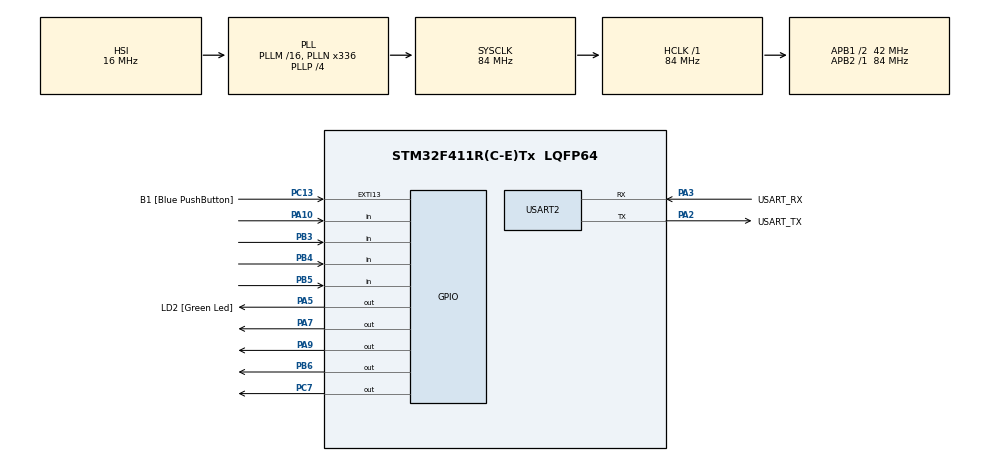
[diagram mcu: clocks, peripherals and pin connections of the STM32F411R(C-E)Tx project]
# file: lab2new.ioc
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Mcu.Family=STM32F4
Mcu.Name=STM32F411R(C-E)Tx
Mcu.Package=LQFP64
NVIC.PriorityGroup=NVIC_PRIORITYGROUP_0
PA10.GPIO_Mode=GPIO_MODE_INPUT
PA10.GPIO_PuPd=GPIO_PULLUP
PA10.Signal=GPIO_Input
PA13.GPIO_Label=TMS
PA13.Mode=Serial_Wire
PA13.Signal=SYS_JTMS-SWDIO
PA14.GPIO_Label=TCK
PA14.Mode=Serial_Wire
PA14.Signal=SYS_JTCK-SWCLK
PA2.GPIO_Label=USART_TX
PA2.Mode=Asynchronous
PA2.Signal=USART2_TX
PA3.GPIO_Label=USART_RX
PA3.Mode=Asynchronous
PA3.Signal=USART2_RX
PA5.GPIO_Label=LD2 [Green Led]
PA5.Signal=GPIO_Output
PA7.GPIO_ModeDefaultOutputPP=GPIO_MODE_OUTPUT_OD
PA7.GPIO_Speed=GPIO_SPEED_FREQ_LOW
PA7.PinState=GPIO_PIN_SET
PA7.Signal=GPIO_Output
PA9.GPIO_ModeDefaultOutputPP=GPIO_MODE_OUTPUT_OD
PA9.GPIO_Speed=GPIO_SPEED_FREQ_LOW
PA9.PinState=GPIO_PIN_SET
PA9.Signal=GPIO_Output
PB3.GPIO_Mode=GPIO_MODE_INPUT
PB3.GPIO_PuPd=GPIO_PULLUP
PB3.Signal=GPIO_Input
PB4.GPIO_Mode=GPIO_MODE_INPUT
PB4.GPIO_PuPd=GPIO_PULLUP
PB4.Signal=GPIO_Input
PB5.GPIO_Mode=GPIO_MODE_INPUT
PB5.GPIO_PuPd=GPIO_PULLUP
PB5.Signal=GPIO_Input
PB6.GPIO_ModeDefaultOutputPP=GPIO_MODE_OUTPUT_OD
PB6.GPIO_Speed=GPIO_SPEED_FREQ_LOW
PB6.PinState=GPIO_PIN_SET
PB6.Signal=GPIO_Output
PC13-ANTI_TAMP.GPIO_Label=B1 [Blue PushButton]
PC13-ANTI_TAMP.GPIO_ModeDefaultEXTI=GPIO_MODE_IT_FALLING
PC13-ANTI_TAMP.Signal=GPXTI13
PC14-OSC32_IN.Mode=LSE-External-Oscillator
PC14-OSC32_IN.Signal=RCC_OSC32_IN
PC15-OSC32_OUT.Mode=LSE-External-Oscillator
PC15-OSC32_OUT.Signal=RCC_OSC32_OUT
PC7.GPIO_ModeDefaultOutputPP=GPIO_MODE_OUTPUT_OD
PC7.GPIO_Speed=GPIO_SPEED_FREQ_LOW
PC7.PinState=GPIO_PIN_SET
PC7.Signal=GPIO_Output
PH0\ -\ OSC_IN.Mode=HSE-External-Clock-Source
PH0\ -\ OSC_IN.Signal=RCC_OSC_IN
PH1\ -\ OSC_OUT.Mode=HSE-External-Clock-Source
PH1\ -\ OSC_OUT.Signal=RCC_OSC_OUT
ProjectManager.HeapSize=0x200
ProjectManager.StackSize=0x400
ProjectManager.TargetToolchain=STM32CubeIDE
RCC.48MHZClocksFreq_Value=84000000
RCC.AHBFreq_Value=84000000
RCC.APB1CLKDivider=RCC_HCLK_DIV2
RCC.APB1Freq_Value=42000000
RCC.APB1TimFreq_Value=84000000
RCC.APB2Freq_Value=84000000
RCC.APB2TimFreq_Value=84000000
RCC.CortexFreq_Value=84000000
RCC.FLatency-AdvancedSettings=FLASH_LATENCY_2
RCC.HCLKFreq_Value=84000000
RCC.HSE_VALUE=8000000
RCC.HSI_VALUE=16000000
RCC.PLLN=336
RCC.PLLP=RCC_PLLP_DIV4
RCC.SYSCLKFreq_VALUE=84000000
RCC.SYSCLKSource=RCC_SYSCLKSOURCE_PLLCLK
RCC.VCOOutputFreq_Value=336000000
USART2.VirtualMode=VM_ASYNC
board=NUCLEO-F411RE

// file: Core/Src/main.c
/* USER CODE BEGIN Header */
/**
  ******************************************************************************
  * @file           : main.c
  * @brief          : Main program body
  ******************************************************************************
  * @attention
  *
  * <h2><center>&copy; Copyright (c) 2021 STMicroelectronics.
  * All rights reserved.</center></h2>
  *
  * This software component is licensed by ST under BSD 3-Clause license,
  * the "License"; You may not use this file except in compliance with the
  * License. You may obtain a copy of the License at:
  *                        opensource.org/licenses/BSD-3-Clause
  *
  ******************************************************************************
  */
/* USER CODE END Header */
#include "main.h"

UART_HandleTypeDef huart2;

/* USER CODE BEGIN PV */
uint16_t ButtonMatrixState = 0;
uint16_t timestamp = 0;
uint32_t a=0;
uint8_t y = 0;
GPIO_TypeDef *password[11]={0,0,0,0,0,0,0,0,0,0,0};
uint16_t count = 0;
uint32_t ti=0;
/* USER CODE END PV */

void SystemClock_Config(void);
static void MX_GPIO_Init(void);
static void MX_USART2_UART_Init(void);
/* USER CODE BEGIN PFP */
void ButtonUpdate();
/* USER CODE END PFP */

int main(void)
{

  /* MCU Configuration--------------------------------------------------------*/

  /* Reset of all peripherals, Initializes the Flash interface and the Systick. */
  HAL_Init();

  /* Configure the system clock */
  SystemClock_Config();

  /* Initialize all configured peripherals */
  MX_GPIO_Init();
  MX_USART2_UART_Init();

  /* Infinite loop */
  while (1)
  {

    /* USER CODE BEGIN 3 */
	  ButtonUpdate();
	  if(HAL_GetTick()- ti >=300)
	  {
		  if (ButtonMatrixState == 1)
		  {
			  y = 0;
			  password[count]=7;
			  a = 7;
			  count +=1;
			  ti = HAL_GetTick();
		  }
		  else if (ButtonMatrixState == 0b10)
		  {
			  y = 0;
			  password[count]=8;
			  a = 8;
			  count +=1;
			  ti = HAL_GetTick();
		  }
		  else if (ButtonMatrixState == 0b100)
		  {
			  y = 0;
			  password[count]=9;
			  a = 9;
			  count +=1;
			  ti = HAL_GetTick();
		  }
		  else if (ButtonMatrixState == 0b10000)
		  {
			  y = 0;
			  password[count]=4;
			  a = 4;
			  count +=1;
			  ti = HAL_GetTick();
		  }
		  else if (ButtonMatrixState == 0b100000)
		  {
			  y = 0;
			  password[count]=5;
			  a = 5;
			  count +=1;
			  ti = HAL_GetTick();
		  }
		  else if (ButtonMatrixState == 0b1000000)
		  {
			  y = 0;
			  password[count]=6;
			  a = 6;
			  count +=1;
			  ti = HAL_GetTick();
		  }
		  else if (ButtonMatrixState == 0b100000000)
		  {
			  y = 0;
			  password[count]=1;
			  a = 1;
			  count +=1;
			  ti = HAL_GetTick();
		  }
		  else if (ButtonMatrixState == 0b1000000000)
		  {
			  y = 0;
			  password[count]=2;
			  a = 2;
			  count +=1;
			  ti = HAL_GetTick();
		  }
		  else if (ButtonMatrixState == 0b10000000000)
		  {
			  y = 0;
			  password[count]=3;
			  a = 3;
			  count +=1;
			  ti = HAL_GetTick();
		  }
		  else if (ButtonMatrixState == 0b1000000000000)
		  {
			  y = 0;
			  password[count]=0;
			  a = 0;
			  count +=1;
			  ti = HAL_GetTick();
		  }
		  else if (ButtonMatrixState == 0b1000)
		  {
			  y=0;
			  count = 0;
			  password[0]=0;
			  password[1]=0;
			  password[2]=0;
			  password[3]=0;
			  password[4]=0;
			  password[5]=0;
			  password[6]=0;
			  password[7]=0;
			  password[8]=0;
			  password[9]=0;
			  password[10]=0;
			  a = 0;
			  ti = HAL_GetTick();
		  }

		  else if (ButtonMatrixState == 0b1000000000000000 )
		  {
			  if(password[2]== 0b11 && password[3]== 0b100 && password[4]== 0  )
			  {
				  if(password[5]== 0b101 &&password[6]== 0 && password[7]== 0 )
				  {
					  if(password[9]== 0b1 && password[10]== 0b100 )
					  {
						  if(password[1]== 0b10&& password[0]== 0b110&& password[8]== 0)
						  {
							   y = 1;
							  a = 0;
							  count =0;
							  password[0]=0;
							  password[1]=0;
							  password[2]=0;
							  password[3]=0;
							  password[4]=0;
							  password[5]=0;
							  password[6]=0;
							  password[7]=0;
							  password[8]=0;
							  password[9]=0;
							  password[10]=0;
							  ti = HAL_GetTick();
						  }

					  }
				  }

			  }
			  else
			  {
				  y = 0;
				  a = 0;
				  count =0;
				  password[0]=0;
				  password[1]=0;
				  password[2]=0;
				  password[3]=0;
				  password[4]=0;
				  password[5]=0;
				  password[6]=0;
				  password[7]=0;
				  password[8]=0;
				  password[9]=0;
				  password[10]=0;
				  password[11]=0;
				  ti = HAL_GetTick();
			  }
		  }
	 }
	 if (y==1)
	 {
		 HAL_GPIO_WritePin(GPIOA, GPIO_PIN_5, 1);
	 }
	 if(y == 0 )
	 {
		 HAL_GPIO_WritePin(GPIOA, GPIO_PIN_5, 0);
	 }

   }
  /* USER CODE END 3 */
}

void SystemClock_Config(void)
{
  RCC_OscInitTypeDef RCC_OscInitStruct = {0};
  RCC_ClkInitTypeDef RCC_ClkInitStruct = {0};

  /** Configure the main internal regulator output voltage
  */
  __HAL_RCC_PWR_CLK_ENABLE();
  __HAL_PWR_VOLTAGESCALING_CONFIG(PWR_REGULATOR_VOLTAGE_SCALE1);
  /** Initializes the RCC Oscillators according to the specified parameters
  * in the RCC_OscInitTypeDef structure.
  */
  RCC_OscInitStruct.OscillatorType = RCC_OSCILLATORTYPE_HSI;
  RCC_OscInitStruct.HSIState = RCC_HSI_ON;
  RCC_OscInitStruct.HSICalibrationValue = RCC_HSICALIBRATION_DEFAULT;
  RCC_OscInitStruct.PLL.PLLState = RCC_PLL_ON;
  RCC_OscInitStruct.PLL.PLLSource = RCC_PLLSOURCE_HSI;
  RCC_OscInitStruct.PLL.PLLM = 16;
  RCC_OscInitStruct.PLL.PLLN = 336;
  RCC_OscInitStruct.PLL.PLLP = RCC_PLLP_DIV4;
  RCC_OscInitStruct.PLL.PLLQ = 4;
  if (HAL_RCC_OscConfig(&RCC_OscInitStruct) != HAL_OK)
  {
    Error_Handler();
  }
  /** Initializes the CPU, AHB and APB buses clocks
  */
  RCC_ClkInitStruct.ClockType = RCC_CLOCKTYPE_HCLK|RCC_CLOCKTYPE_SYSCLK
                              |RCC_CLOCKTYPE_PCLK1|RCC_CLOCKTYPE_PCLK2;
  RCC_ClkInitStruct.SYSCLKSource = RCC_SYSCLKSOURCE_PLLCLK;
  RCC_ClkInitStruct.AHBCLKDivider = RCC_SYSCLK_DIV1;
  RCC_ClkInitStruct.APB1CLKDivider = RCC_HCLK_DIV2;
  RCC_ClkInitStruct.APB2CLKDivider = RCC_HCLK_DIV1;

  if (HAL_RCC_ClockConfig(&RCC_ClkInitStruct, FLASH_LATENCY_2) != HAL_OK)
  {
    Error_Handler();
  }
}

static void MX_USART2_UART_Init(void)
{

  huart2.Instance = USART2;
  huart2.Init.BaudRate = 115200;
  huart2.Init.WordLength = UART_WORDLENGTH_8B;
  huart2.Init.StopBits = UART_STOPBITS_1;
  huart2.Init.Parity = UART_PARITY_NONE;
  huart2.Init.Mode = UART_MODE_TX_RX;
  huart2.Init.HwFlowCtl = UART_HWCONTROL_NONE;
  huart2.Init.OverSampling = UART_OVERSAMPLING_16;
  if (HAL_UART_Init(&huart2) != HAL_OK)
  {
    Error_Handler();
  }

}

static void MX_GPIO_Init(void)
{
  GPIO_InitTypeDef GPIO_InitStruct = {0};

  /* GPIO Ports Clock Enable */
  __HAL_RCC_GPIOC_CLK_ENABLE();
  __HAL_RCC_GPIOH_CLK_ENABLE();
  __HAL_RCC_GPIOA_CLK_ENABLE();
  __HAL_RCC_GPIOB_CLK_ENABLE();

  /*Configure GPIO pin Output Level */
  HAL_GPIO_WritePin(LD2_GPIO_Port, LD2_Pin, GPIO_PIN_RESET);

  /*Configure GPIO pin Output Level */
  HAL_GPIO_WritePin(GPIOA, GPIO_PIN_7|GPIO_PIN_9, GPIO_PIN_SET);

  /*Configure GPIO pin Output Level */
  HAL_GPIO_WritePin(GPIOC, GPIO_PIN_7, GPIO_PIN_SET);

  /*Configure GPIO pin Output Level */
  HAL_GPIO_WritePin(GPIOB, GPIO_PIN_6, GPIO_PIN_SET);

  /*Configure GPIO pin : B1_Pin */
  GPIO_InitStruct.Pin = B1_Pin;
  GPIO_InitStruct.Mode = GPIO_MODE_IT_FALLING;
  GPIO_InitStruct.Pull = GPIO_NOPULL;
  HAL_GPIO_Init(B1_GPIO_Port, &GPIO_InitStruct);

  /*Configure GPIO pin : LD2_Pin */
  GPIO_InitStruct.Pin = LD2_Pin;
  GPIO_InitStruct.Mode = GPIO_MODE_OUTPUT_PP;
  GPIO_InitStruct.Pull = GPIO_NOPULL;
  GPIO_InitStruct.Speed = GPIO_SPEED_FREQ_LOW;
  HAL_GPIO_Init(LD2_GPIO_Port, &GPIO_InitStruct);

  /*Configure GPIO pins : PA7 PA9 */
  GPIO_InitStruct.Pin = GPIO_PIN_7|GPIO_PIN_9;
  GPIO_InitStruct.Mode = GPIO_MODE_OUTPUT_OD;
  GPIO_InitStruct.Pull = GPIO_NOPULL;
  GPIO_InitStruct.Speed = GPIO_SPEED_FREQ_LOW;
  HAL_GPIO_Init(GPIOA, &GPIO_InitStruct);

  /*Configure GPIO pin : PC7 */
  GPIO_InitStruct.Pin = GPIO_PIN_7;
  GPIO_InitStruct.Mode = GPIO_MODE_OUTPUT_OD;
  GPIO_InitStruct.Pull = GPIO_NOPULL;
  GPIO_InitStruct.Speed = GPIO_SPEED_FREQ_LOW;
  HAL_GPIO_Init(GPIOC, &GPIO_InitStruct);

  /*Configure GPIO pin : PA10 */
  GPIO_InitStruct.Pin = GPIO_PIN_10;
  GPIO_InitStruct.Mode = GPIO_MODE_INPUT;
  GPIO_InitStruct.Pull = GPIO_PULLUP;
  HAL_GPIO_Init(GPIOA, &GPIO_InitStruct);

  /*Configure GPIO pins : PB3 PB4 PB5 */
  GPIO_InitStruct.Pin = GPIO_PIN_3|GPIO_PIN_4|GPIO_PIN_5;
  GPIO_InitStruct.Mode = GPIO_MODE_INPUT;
  GPIO_InitStruct.Pull = GPIO_PULLUP;
  HAL_GPIO_Init(GPIOB, &GPIO_InitStruct);

  /*Configure GPIO pin : PB6 */
  GPIO_InitStruct.Pin = GPIO_PIN_6;
  GPIO_InitStruct.Mode = GPIO_MODE_OUTPUT_OD;
  GPIO_InitStruct.Pull = GPIO_NOPULL;
  GPIO_InitStruct.Speed = GPIO_SPEED_FREQ_LOW;
  HAL_GPIO_Init(GPIOB, &GPIO_InitStruct);

}

/* USER CODE BEGIN 4 */
GPIO_TypeDef *ButtonmPORT[8] = { GPIOA, GPIOB, GPIOB, GPIOB, GPIOA, GPIOC,
		GPIOB, GPIOA };
uint16_t Bottonpin[8] = { GPIO_PIN_10, GPIO_PIN_3, GPIO_PIN_5, GPIO_PIN_4,
		GPIO_PIN_9, GPIO_PIN_7, GPIO_PIN_6, GPIO_PIN_7 };
uint8_t ButtonMline = 0;
void ButtonUpdate() {
	if (HAL_GetTick() - timestamp >= 50)
	{
		timestamp = HAL_GetTick();
		int i;
		for (i = 0; i < 4; ++i)
		{
			GPIO_PinState PinState = HAL_GPIO_ReadPin(ButtonmPORT[i],
					Bottonpin[i]);
			if (PinState == GPIO_PIN_RESET)
			{
				ButtonMatrixState |= (uint16_t)0x1 << (i+ButtonMline*4);
			}
			else
			{
				ButtonMatrixState &= ~((uint16_t)0x1 << (i+ButtonMline*4));
			}
		}
		uint8_t NowOutputPin = ButtonMline + 4;
		HAL_GPIO_WritePin(ButtonmPORT[NowOutputPin], Bottonpin[NowOutputPin], GPIO_PIN_SET);

		ButtonMline = (ButtonMline + 1)%4;

		uint8_t NextOutputPin = ButtonMline + 4;
		HAL_GPIO_WritePin(ButtonmPORT[NextOutputPin], Bottonpin[NextOutputPin], GPIO_PIN_RESET);

	}
}
/* USER CODE END 4 */

void Error_Handler(void)
{
  __disable_irq();
  while (1)
  {
  }
}

/************************ (C) COPYRIGHT STMicroelectronics *****END OF FILE****/
